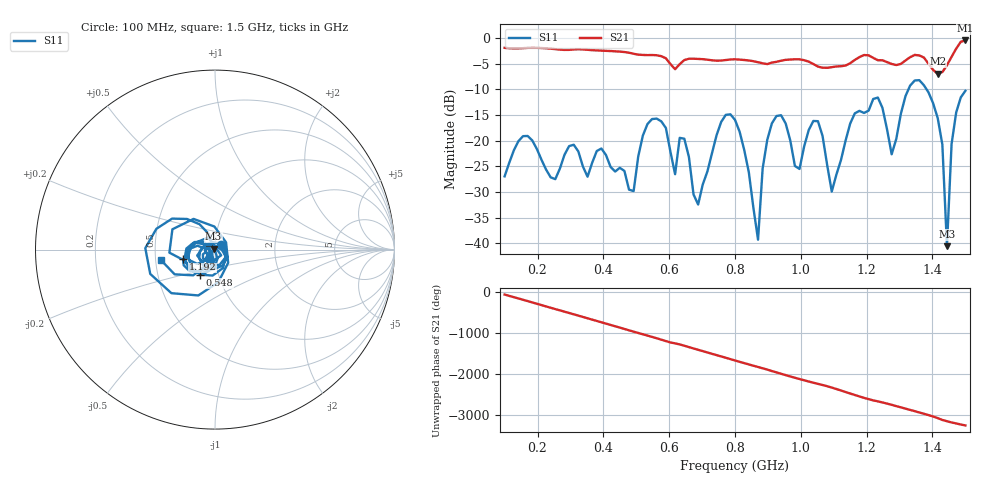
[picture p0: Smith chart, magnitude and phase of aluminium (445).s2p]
! NanoVNA-App
! Date: 2025-09-25 14:58:45
! Start: 100MHz Stop: 1,5GHz Points: 101
! S-Parameter data: F S11 S21 S12 S22
# Hz S RI R 50
!  Frequency  S11_Real  S11_Imag  S21_Real  S21_Imag  S12_Real  S12_Imag  S22_Real  S22_Imag
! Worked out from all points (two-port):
!   101 points, 100 MHz to 1.5 GHz, reference 50 ohm
!   highest |S21| = -0.48 dB at 1.5 GHz (marker M1); lowest = -7.0 dB at 1.416 GHz (marker M2)
!   |S21| within 3 dB of the highest: start of sweep to 571.1 MHz; 1.46 GHz to end of sweep (the widest 2 of 4)
!   lowest |S11| = -40.6 dB at 1.444 GHz (marker M3), VSWR 1.02, Z = 49.2 + j0.444 ohm
!   |S11| at or under -10 dB: start of sweep to 1.327 GHz; 1.382 GHz to end of sweep
!   S12 and S22 are empty: the file has one direction only
!   S11 on the Smith chart (normalised r, x): 100 MHz: 1.07, +0.06; 548 MHz: 0.82, -0.24; 1.192 GHz: 0.69, -0.08; 1.5 GHz: 0.54, -0.07
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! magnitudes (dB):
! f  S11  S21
! 100 MHz  -27.0  -1.9
! 156 MHz  -19.1  -2.0
! 338 MHz  -25.1  -2.2
! 492 MHz  -29.8  -3.1
! 548 MHz  -15.8  -3.3
! 576 MHz  -16.2  -3.5
! 688 MHz  -32.4  -4.1
! 800 MHz  -16.0  -4.1
! 870 MHz  -39.3  -4.7
! 912 MHz  -16.6  -4.8
! 996 MHz  -25.5  -4.2
! 1.038 GHz  -16.2  -5.1
! 1.094 GHz  -29.9  -5.7
! 1.192 GHz  -14.6  -3.3
! 1.234 GHz  -11.6  -4.3
! 1.276 GHz  -22.7  -5.1
! 1.346 GHz  -8.3  -3.3
! 1.416 GHz  -15.6  -7.0
! 1.43 GHz  -20.8  -6.6
! 1.444 GHz  -40.6  -5.3
! 1.458 GHz  -20.7  -3.7
! 1.5 GHz  -10.3  -0.5
